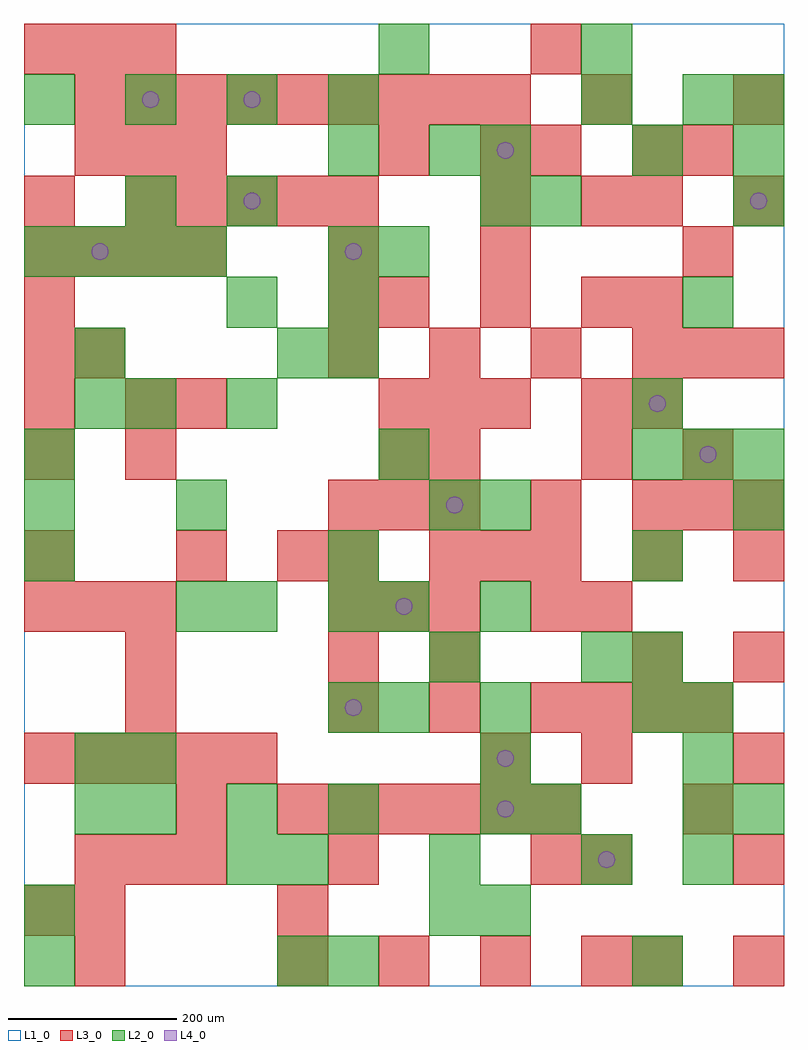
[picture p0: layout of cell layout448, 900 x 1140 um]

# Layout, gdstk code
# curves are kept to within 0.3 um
import gdstk
lib = gdstk.Library(unit=1e-6, precision=1e-09)
def R(c, l, rs):  # rectangles x0, y0, x1, y1
    for r in rs: c.add(gdstk.rectangle(r[:2], r[2:], *l))
def A(c, l, x, y, w, h, nx, ny, dx, dy):  # array of equal rectangles
    R(c, l, [(x+i*dx, y+j*dy, x+i*dx+w, y+j*dy+h) for i in range(nx) for j in range(ny)])
def P(c, l, *ps):  # polygons
    for p in ps: c.add(gdstk.Polygon(p, *l))
L1_0 = (1, 0)
L2_0 = (2, 0)
L3_0 = (3, 0)
L4_0 = (4, 0)

layout448 = lib.new_cell('layout448')
R(layout448, L1_0, [(0,0,900,1140)])
A(layout448, L2_0, 300, 120, 60, 60, 3, 1, 180, 0)
A(layout448, L2_0, 780, 120, 60, 60, 1, 4, 0, 60)
A(layout448, L2_0, 120, 180, 60, 60, 3, 1, 120, 0)
A(layout448, L2_0, 540, 180, 60, 60, 1, 3, 0, 60)
A(layout448, L2_0, 840, 180, 60, 60, 1, 3, 0, 360)
A(layout448, L2_0, 720, 360, 60, 60, 1, 3, 0, 300)
A(layout448, L2_0, 0, 480, 60, 60, 3, 1, 360, 0)
A(layout448, L2_0, 420, 600, 60, 60, 1, 3, 0, 240)
A(layout448, L2_0, 720, 600, 60, 60, 3, 1, 60, 0)
A(layout448, L2_0, 240, 660, 60, 60, 1, 3, 0, 120)
A(layout448, L2_0, 360, 720, 60, 60, 1, 3, 0, 60)
A(layout448, L2_0, 0, 840, 60, 60, 4, 1, 60, 0)
A(layout448, L2_0, 0, 1020, 60, 60, 4, 1, 120, 0)
R(layout448, L2_0, [(0,0,60,60), (300,0,360,60), (360,0,420,60), (720,0,780,60), (0,60,60,120), (480,60,540,120), (540,60,600,120), (240,120,300,180), (60,180,120,240), (600,180,660,240), (60,240,120,300), (120,240,180,300), (360,300,420,360), (420,300,480,360), (720,300,780,360), (480,360,540,420), (660,360,720,420), (180,420,240,480), (240,420,300,480), (360,420,420,480), (420,420,480,480), (540,420,600,480), (0,540,60,600), (180,540,240,600), (480,540,540,600), (540,540,600,600), (0,600,60,660), (60,660,120,720), (120,660,180,720), (60,720,120,780), (300,720,360,780), (780,780,840,840), (120,900,180,960), (540,900,600,960), (600,900,660,960), (360,960,420,1020), (480,960,540,1020), (540,960,600,1020), (840,960,900,1020), (660,1020,720,1080), (780,1020,840,1080), (840,1020,900,1080), (660,1080,720,1140)])
A(layout448, L3_0, 300, 0, 60, 60, 4, 1, 120, 0)
A(layout448, L3_0, 840, 0, 60, 60, 1, 5, 0, 120)
A(layout448, L3_0, 60, 120, 60, 60, 3, 2, 60, 840)
A(layout448, L3_0, 300, 180, 60, 60, 6, 1, 60, 0)
A(layout448, L3_0, 0, 240, 60, 60, 5, 1, 60, 0)
A(layout448, L3_0, 660, 240, 60, 60, 1, 3, 0, 180)
A(layout448, L3_0, 360, 300, 60, 60, 3, 1, 120, 0)
A(layout448, L3_0, 660, 300, 60, 60, 3, 1, 60, 0)
A(layout448, L3_0, 0, 420, 60, 60, 3, 2, 60, 660)
A(layout448, L3_0, 360, 420, 60, 60, 3, 2, 60, 120)
A(layout448, L3_0, 480, 480, 60, 60, 3, 1, 60, 0)
A(layout448, L3_0, 720, 540, 60, 60, 3, 1, 60, 0)
A(layout448, L3_0, 0, 600, 60, 60, 1, 4, 0, 60)
A(layout448, L3_0, 780, 600, 60, 60, 1, 4, 0, 120)
A(layout448, L3_0, 420, 660, 60, 60, 3, 1, 60, 0)
A(layout448, L3_0, 720, 660, 60, 60, 1, 3, 0, 120)
A(layout448, L3_0, 360, 720, 60, 60, 4, 1, 120, 0)
A(layout448, L3_0, 420, 780, 60, 60, 3, 1, 120, 0)
A(layout448, L3_0, 0, 840, 60, 60, 4, 1, 60, 0)
A(layout448, L3_0, 540, 840, 60, 60, 1, 3, 0, 60)
A(layout448, L3_0, 120, 900, 60, 60, 5, 1, 60, 0)
A(layout448, L3_0, 60, 1020, 60, 60, 9, 1, 60, 0)
R(layout448, L3_0, [(60,0,120,60), (720,0,780,60), (0,60,60,120), (60,60,120,120), (300,60,360,120), (360,120,420,180), (600,120,660,180), (660,120,720,180), (180,180,240,240), (780,180,840,240), (540,240,600,300), (120,300,180,360), (120,360,180,420), (360,360,420,420), (480,360,540,420), (720,360,780,420), (600,420,660,480), (0,480,60,540), (180,480,240,540), (300,480,360,540), (360,480,420,540), (720,480,780,540), (600,540,660,600), (120,600,180,660), (420,600,480,660), (480,600,540,660), (120,660,180,720), (180,660,240,720), (660,660,720,720), (60,720,120,780), (840,720,900,780), (360,780,420,840), (360,840,420,900), (0,900,60,960), (660,900,720,960), (840,900,900,960), (420,960,480,1020), (600,960,660,1020), (720,960,780,1020), (660,1020,720,1080), (840,1020,900,1080), (600,1080,660,1140)])
P(layout448, L4_0, [(100,870),(99.239,873.827),(97.071,877.071),(93.827,879.239),(90,880),(86.173,879.239),(82.929,877.071),(80.761,873.827),(80,870),(80.761,866.173),(82.929,862.929),(86.173,860.761),(90,860),(93.827,860.761),(97.071,862.929),(99.239,866.173)],
  [(160,1050),(159.239,1053.827),(157.071,1057.071),(153.827,1059.239),(150,1060),(146.173,1059.239),(142.929,1057.071),(140.761,1053.827),(140,1050),(140.761,1046.173),(142.929,1042.929),(146.173,1040.761),(150,1040),(153.827,1040.761),(157.071,1042.929),(159.239,1046.173)],
  [(280,930),(279.239,933.827),(277.071,937.071),(273.827,939.239),(270,940),(266.173,939.239),(262.929,937.071),(260.761,933.827),(260,930),(260.761,926.173),(262.929,922.929),(266.173,920.761),(270,920),(273.827,920.761),(277.071,922.929),(279.239,926.173)],
  [(280,1050),(279.239,1053.827),(277.071,1057.071),(273.827,1059.239),(270,1060),(266.173,1059.239),(262.929,1057.071),(260.761,1053.827),(260,1050),(260.761,1046.173),(262.929,1042.929),(266.173,1040.761),(270,1040),(273.827,1040.761),(277.071,1042.929),(279.239,1046.173)],
  [(400,330),(399.239,333.827),(397.071,337.071),(393.827,339.239),(390,340),(386.173,339.239),(382.929,337.071),(380.761,333.827),(380,330),(380.761,326.173),(382.929,322.929),(386.173,320.761),(390,320),(393.827,320.761),(397.071,322.929),(399.239,326.173)],
  [(400,870),(399.239,873.827),(397.071,877.071),(393.827,879.239),(390,880),(386.173,879.239),(382.929,877.071),(380.761,873.827),(380,870),(380.761,866.173),(382.929,862.929),(386.173,860.761),(390,860),(393.827,860.761),(397.071,862.929),(399.239,866.173)],
  [(460,450),(459.239,453.827),(457.071,457.071),(453.827,459.239),(450,460),(446.173,459.239),(442.929,457.071),(440.761,453.827),(440,450),(440.761,446.173),(442.929,442.929),(446.173,440.761),(450,440),(453.827,440.761),(457.071,442.929),(459.239,446.173)],
  [(520,570),(519.239,573.827),(517.071,577.071),(513.827,579.239),(510,580),(506.173,579.239),(502.929,577.071),(500.761,573.827),(500,570),(500.761,566.173),(502.929,562.929),(506.173,560.761),(510,560),(513.827,560.761),(517.071,562.929),(519.239,566.173)],
  [(580,210),(579.239,213.827),(577.071,217.071),(573.827,219.239),(570,220),(566.173,219.239),(562.929,217.071),(560.761,213.827),(560,210),(560.761,206.173),(562.929,202.929),(566.173,200.761),(570,200),(573.827,200.761),(577.071,202.929),(579.239,206.173)],
  [(580,270),(579.239,273.827),(577.071,277.071),(573.827,279.239),(570,280),(566.173,279.239),(562.929,277.071),(560.761,273.827),(560,270),(560.761,266.173),(562.929,262.929),(566.173,260.761),(570,260),(573.827,260.761),(577.071,262.929),(579.239,266.173)],
  [(580,990),(579.239,993.827),(577.071,997.071),(573.827,999.239),(570,1000),(566.173,999.239),(562.929,997.071),(560.761,993.827),(560,990),(560.761,986.173),(562.929,982.929),(566.173,980.761),(570,980),(573.827,980.761),(577.071,982.929),(579.239,986.173)],
  [(700,150),(699.239,153.827),(697.071,157.071),(693.827,159.239),(690,160),(686.173,159.239),(682.929,157.071),(680.761,153.827),(680,150),(680.761,146.173),(682.929,142.929),(686.173,140.761),(690,140),(693.827,140.761),(697.071,142.929),(699.239,146.173)],
  [(760,690),(759.239,693.827),(757.071,697.071),(753.827,699.239),(750,700),(746.173,699.239),(742.929,697.071),(740.761,693.827),(740,690),(740.761,686.173),(742.929,682.929),(746.173,680.761),(750,680),(753.827,680.761),(757.071,682.929),(759.239,686.173)],
  [(820,630),(819.239,633.827),(817.071,637.071),(813.827,639.239),(810,640),(806.173,639.239),(802.929,637.071),(800.761,633.827),(800,630),(800.761,626.173),(802.929,622.929),(806.173,620.761),(810,620),(813.827,620.761),(817.071,622.929),(819.239,626.173)],
  [(880,930),(879.239,933.827),(877.071,937.071),(873.827,939.239),(870,940),(866.173,939.239),(862.929,937.071),(860.761,933.827),(860,930),(860.761,926.173),(862.929,922.929),(866.173,920.761),(870,920),(873.827,920.761),(877.071,922.929),(879.239,926.173)])

lib.write_gds('layout448.gds')
